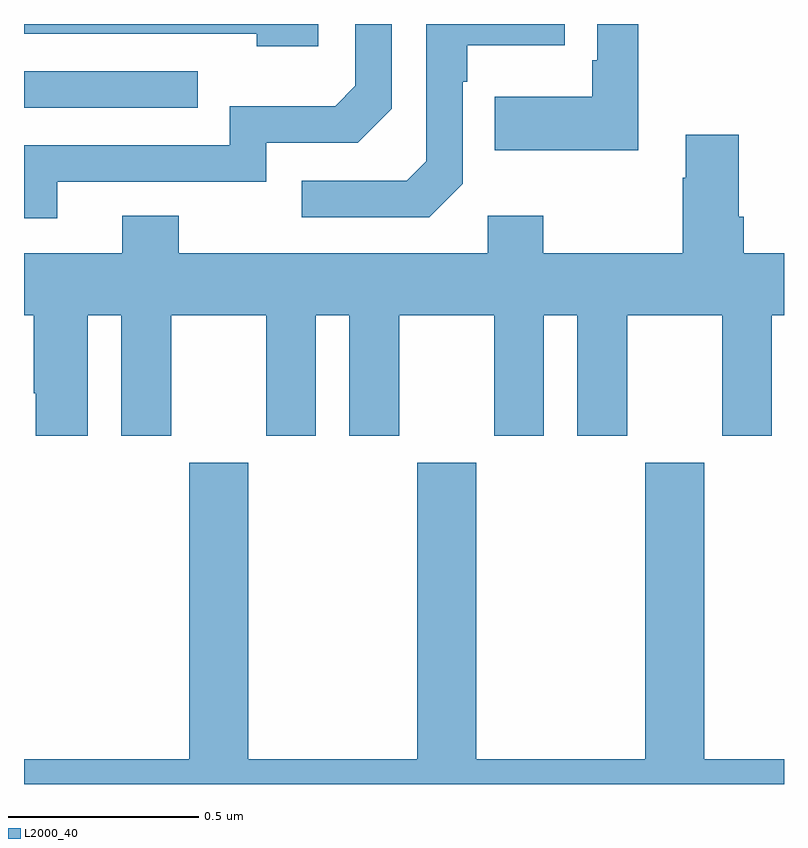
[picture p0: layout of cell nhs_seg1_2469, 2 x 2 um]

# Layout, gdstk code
import gdstk
lib = gdstk.Library(unit=1e-6, precision=1e-09)
def R(c, l, rs):  # rectangles x0, y0, x1, y1
    for r in rs: c.add(gdstk.rectangle(r[:2], r[2:], *l))
def P(c, l, *ps):  # polygons
    for p in ps: c.add(gdstk.Polygon(p, *l))
L2000_40 = (2000, 40)

nhs_seg1_2469 = lib.new_cell('nhs_seg1_2469')
R(nhs_seg1_2469, L2000_40, [(142,518.979,142.457,519.075)])
P(nhs_seg1_2469, L2000_40, [(142.087,518.784),(142.638,518.784),(142.638,518.886),(142.878,518.886),(142.968,518.976),(142.968,519.199),(142.872,519.199),(142.872,519.036),(142.819,518.983),(142.542,518.983),(142.542,518.88),(142,518.88),(142,518.688),(142.087,518.688)],
  [(142.774,519.199),(142,519.199),(142,519.174),(142.613,519.174),(142.613,519.14),(142.774,519.14)],
  [(143.154,518.778),(143.154,519.047),(143.167,519.047),(143.167,519.143),(143.423,519.143),(143.423,519.199),(143.058,519.199),(143.058,518.838),(143.007,518.787),(142.731,518.787),(142.731,518.691),(143.067,518.691)],
  [(143.617,519.199),(143.508,519.199),(143.508,519.103),(143.496,519.103),(143.496,519.007),(143.239,519.007),(143.239,518.867),(143.617,518.867)],
  [(142.168,518.432),(142.256,518.432),(142.256,518.115),(142.387,518.115),(142.387,518.432),(142.637,518.432),(142.637,518.115),(142.768,518.115),(142.768,518.432),(142.856,518.432),(142.856,518.115),(142.987,518.115),(142.987,518.432),(143.237,518.432),(143.237,518.115),(143.368,518.115),(143.368,518.432),(143.456,518.432),(143.456,518.115),(143.587,518.115),(143.587,518.432),(143.837,518.432),(143.837,518.115),(143.968,518.115),(143.968,518.432),(144,518.432),(144,518.596),(143.894,518.596),(143.894,518.692),(143.881,518.692),(143.881,518.908),(143.741,518.908),(143.741,518.795),(143.734,518.795),(143.734,518.596),(143.367,518.596),(143.367,518.695),(143.22,518.695),(143.22,518.596),(142.407,518.596),(142.407,518.695),(142.259,518.695),(142.259,518.596),(142,518.596),(142,518.432),(142.025,518.432),(142.025,518.227),(142.031,518.227),(142.031,518.115),(142.168,518.115)],
  [(144,517.264),(143.79,517.264),(143.79,518.044),(143.635,518.044),(143.635,517.264),(143.19,517.264),(143.19,518.044),(143.035,518.044),(143.035,517.264),(142.59,517.264),(142.59,518.044),(142.435,518.044),(142.435,517.264),(142,517.264),(142,517.199),(144,517.199)])

lib.write_gds('nhs_seg1_2469.gds')
